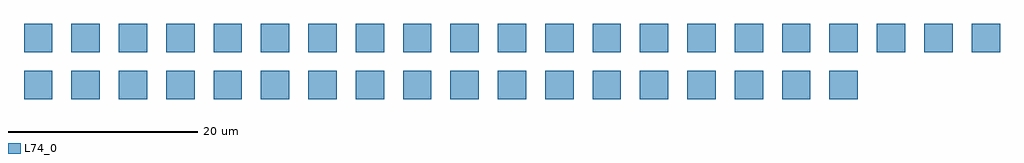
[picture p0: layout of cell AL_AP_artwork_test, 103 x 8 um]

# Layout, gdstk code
import gdstk
lib = gdstk.Library(unit=1e-6, precision=1e-09)
def R(c, l, rs):  # rectangles x0, y0, x1, y1
    for r in rs: c.add(gdstk.rectangle(r[:2], r[2:], *l))
def A(c, l, x, y, w, h, nx, ny, dx, dy):  # array of equal rectangles
    R(c, l, [(x+i*dx, y+j*dy, x+i*dx+w, y+j*dy+h) for i in range(nx) for j in range(ny)])
L74_0 = (74, 0)

al_ap_artwork_test = lib.new_cell('AL_AP_artwork_test')
A(al_ap_artwork_test, L74_0, 120, 985, 3, 3, 18, 1, 5, 0)
A(al_ap_artwork_test, L74_0, 120, 990, 3, 3, 21, 1, 5, 0)

lib.write_gds('AL_AP_artwork_test.gds')
